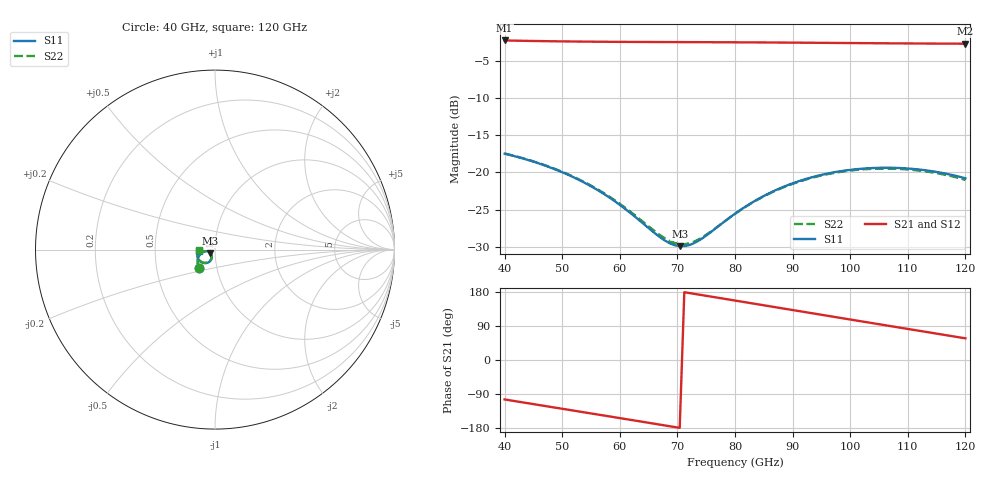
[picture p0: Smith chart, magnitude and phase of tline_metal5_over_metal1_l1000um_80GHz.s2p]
#  GHZ S DB R 50
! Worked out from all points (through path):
!   101 points, 40 GHz to 120 GHz, reference 50 ohm
!   highest |S21| = -2.31 dB at 40 GHz (marker M1); lowest = -2.7 dB at 120 GHz (marker M2)
!   group delay of S21, straight-line fit = 6.91 ps
!   lowest |S11| = -29.9 dB at 70.4 GHz (marker M3), VSWR 1.07, Z = 47.5 - j1.86 ohm
!   |S11| at or under -10 dB: start of sweep to end of sweep
!   |S22| runs from -29.6 to -17.5 dB; largest |S21 - S12| = 8.6e-14
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40  -17.49 -131.5  -2.31 -104.1  -2.31 -104.1  -17.46 -131.4
46.4  -18.91 -147.7  -2.40 -119.9  -2.40 -119.9  -18.87 -147.6
53.6  -21.27 -162.7  -2.46 -137.6  -2.46 -137.6  -21.20 -162.5
57.6  -23.06 -168.3  -2.49 -147.4  -2.49 -147.4  -22.96 -168.1
60.8  -24.81 -170.2  -2.50 -155.3  -2.50 -155.3  -24.66 -170.0
67.2  -28.81 -159.1  -2.52 -171.1  -2.52 -171.1  -28.52 -159.5
68.8  -29.54 -151.4  -2.53 -175.1  -2.53 -175.1  -29.24 -152.4
70.4  -29.88 -142.3  -2.53 -179.1  -2.53 -179.1  -29.60 -143.7
72  -29.75 -132.8  -2.54 176.9  -2.54 176.9  -29.52 -134.7
73.6  -29.19 -124.6  -2.54 172.9  -2.54 172.9  -29.02 -126.7
76.8  -27.41 -114.2  -2.55 164.9  -2.55 164.9  -27.36 -116.3
80  -25.54 -110.8  -2.56 156.9  -2.56 156.9  -25.55 -112.7
83.2  -23.93 -111.6  -2.57 148.9  -2.57 148.9  -23.97 -113.3
86.4  -22.61 -114.8  -2.59 140.9  -2.59 140.9  -22.68 -116.3
89.6  -21.57 -119.3  -2.60 132.9  -2.60 132.9  -21.64 -120.7
93.6  -20.60 -126.1  -2.62 122.9  -2.62 122.9  -20.68 -127.4
97.6  -19.93 -133.5  -2.64 112.9  -2.64 112.9  -20.02 -134.8
100.8  -19.59 -139.6  -2.66 104.9  -2.66 104.9  -19.68 -140.9
104  -19.41 -145.9  -2.68 96.9  -2.68 96.9  -19.51 -147.2
107.2  -19.38 -152.1  -2.70 89.0  -2.70 89.0  -19.49 -153.5
113.6  -19.77 -164.3  -2.73 73.1  -2.73 73.1  -19.92 -165.9
120  -20.79 -175.4  -2.75 57.2  -2.75 57.2  -21.00 -177.2
